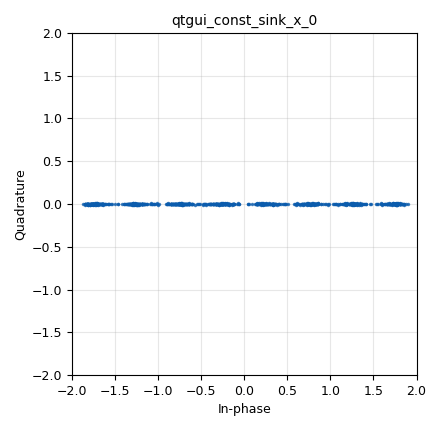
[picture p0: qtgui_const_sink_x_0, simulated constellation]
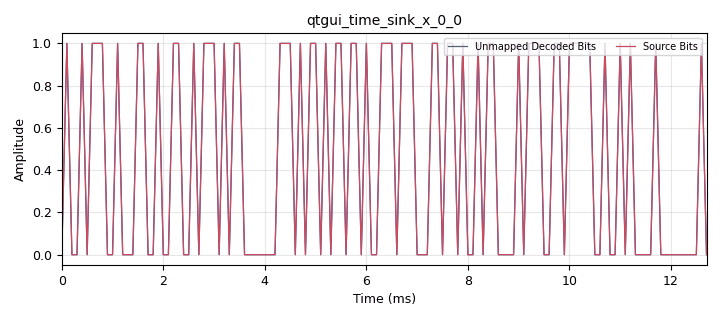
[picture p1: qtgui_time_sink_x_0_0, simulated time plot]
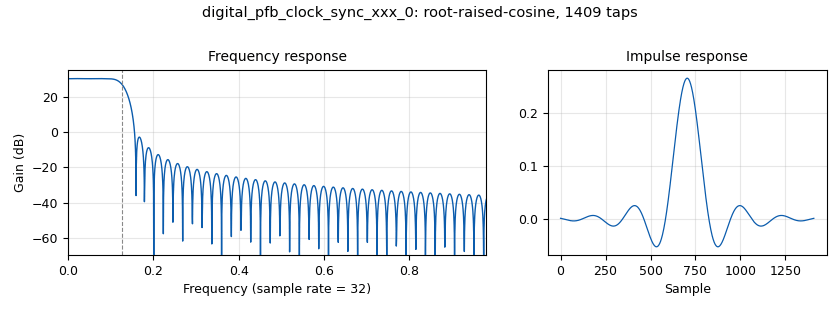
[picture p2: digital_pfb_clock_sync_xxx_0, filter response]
options:
  parameters:
    author: AKourgli
    category: Custom
    generate_options: qt_gui
    id: TP5_1
    output_language: python
    title: TP5_1
  states: {}

blocks:
- name: Alpha
  id: variable
  parameters:
    value: '0.22'
  states: {}
- name: const
  id: variable_constellation_rect
  parameters:
    const_points: '[-7,-5,-3, -1,1 ,3,5,7]'
    imag_sect: '1'
    real_sect: '8'
    rot_sym: '8'
    sym_map: '[0, 1,2,3,4,5,6,7]'
    w_imag_sect: '1'
    w_real_sect: '2'
  states: {}
- name: nfilts
  id: variable
  parameters:
    value: '32'
  states: {}
- name: noise_volt
  id: variable_qtgui_range
  parameters:
    comment: 0,0,1,1
    gui_hint: 0,0,1,1
    label: 'Channel: Noise Voltage'
    start: '0'
    step: '0.01'
    stop: '1'
    value: '0.01'
  states: {}
- name: rrc_taps
  id: variable
  parameters:
    value: firdes.root_raised_cosine(nfilts, nfilts, 1.0/float(sps), Alpha, 11*sps*nfilts)
  states: {}
- name: samp_rate
  id: variable
  parameters:
    value: '10000'
  states: {}
- name: sps
  id: variable
  parameters:
    value: '4'
  states: {}
- name: timing_loop_bw
  id: variable
  parameters:
    value: '0.0628'
  states: {}
- name: analog_random_source_x_0
  id: analog_random_source_x
  parameters:
    max: '255'
    min: '0'
    num_samps: '10000'
    repeat: 'True'
    type: byte
  states: {}
- name: blocks_char_to_float_0_0
  id: blocks_char_to_float
  parameters:
    scale: '1'
  states: {}
- name: blocks_char_to_float_0_0_0
  id: blocks_char_to_float
  parameters:
    scale: '1'
  states: {}
- name: blocks_char_to_float_0_1
  id: blocks_char_to_float
  parameters:
    scale: '1'
  states: {}
- name: blocks_delay_0
  id: blocks_delay
  parameters:
    delay: int(5.5 * sps + 7)*3
    type: byte
  states: {}
- name: blocks_integrate_xx_0
  id: blocks_integrate_xx
  parameters:
    decim: '100'
    type: float
  states: {}
- name: blocks_multiply_const_vxx_1
  id: blocks_multiply_const_vxx
  parameters:
    const: 1/100
    type: float
  states: {}
- name: blocks_throttle2_0
  id: blocks_throttle2
  parameters:
    samples_per_second: samp_rate
    type: complex
  states: {}
- name: blocks_unpack_k_bits_bb_0_0
  id: blocks_unpack_k_bits_bb
  parameters:
    k: '8'
  states: {}
- name: blocks_unpack_k_bits_bb_0_0_0
  id: blocks_unpack_k_bits_bb
  parameters:
    k: '3'
  states: {}
- name: blocks_xor_xx_0
  id: blocks_xor_xx
  parameters:
    type: byte
  states: {}
- name: channels_channel_model_0
  id: channels_channel_model
  parameters:
    epsilon: '1'
    freq_offset: '0'
    noise_voltage: noise_volt
    seed: '0'
    taps: 1+0j
  states: {}
- name: digital_constellation_decoder_cb_0
  id: digital_constellation_decoder_cb
  parameters:
    constellation: const
  states: {}
- name: digital_constellation_modulator_0
  id: digital_constellation_modulator
  parameters:
    constellation: const
    differential: 'True'
    excess_bw: Alpha
    samples_per_symbol: sps
  states: {}
- name: digital_diff_decoder_bb_0
  id: digital_diff_decoder_bb
  parameters:
    coding: digital.DIFF_DIFFERENTIAL
    modulus: '8'
  states: {}
- name: digital_pfb_clock_sync_xxx_0
  id: digital_pfb_clock_sync_xxx
  parameters:
    filter_size: nfilts
    init_phase: nfilts/2
    loop_bw: timing_loop_bw
    max_dev: '1.5'
    osps: '1'
    sps: sps
    taps: rrc_taps
    type: ccf
  states: {}
- name: qtgui_const_sink_x_0
  id: qtgui_const_sink_x
  parameters:
    comment: 0,2,1,1
    gui_hint: 0,2,1,1
    name: ''
    size: '1024'
    type: complex
  states: {}
- name: qtgui_number_sink_0
  id: qtgui_number_sink
  parameters:
    comment: 0,1,1,1
    graph_type: qtgui.NUM_GRAPH_HORIZ
    gui_hint: 0,1,1,1
    type: float
  states: {}
- name: qtgui_time_sink_x_0_0
  id: qtgui_time_sink_x
  parameters:
    autoscale: 'True'
    color1: dark blue
    comment: 1,0,1,4
    ctrlpanel: 'True'
    gui_hint: 1,0,1,3
    label1: Unmapped Decoded Bits
    label2: Source Bits
    name: ''
    nconnections: '2'
    size: '128'
    srate: samp_rate
    tr_mode: qtgui.TRIG_MODE_AUTO
    type: float
    ymax: '2'
    ymin: '-2'
  states: {}
- name: virtual_sink_0
  id: virtual_sink
  parameters:
    stream_id: Decoded
  states: {}
- name: virtual_sink_1
  id: virtual_sink
  parameters:
    stream_id: Source
  states: {}
- name: virtual_source_1
  id: virtual_source
  parameters:
    stream_id: Source
  states: {}
- name: virtual_source_1_0
  id: virtual_source
  parameters:
    stream_id: Decoded
  states: {}

connections:
- [analog_random_source_x_0, '0', digital_constellation_modulator_0, '0']
- [analog_random_source_x_0, '0', virtual_sink_1, '0']
- [blocks_char_to_float_0_0, '0', qtgui_time_sink_x_0_0, '0']
- [blocks_char_to_float_0_0_0, '0', qtgui_time_sink_x_0_0, '1']
- [blocks_char_to_float_0_1, '0', blocks_integrate_xx_0, '0']
- [blocks_delay_0, '0', blocks_char_to_float_0_0_0, '0']
- [blocks_delay_0, '0', blocks_xor_xx_0, '1']
- [blocks_integrate_xx_0, '0', blocks_multiply_const_vxx_1, '0']
- [blocks_multiply_const_vxx_1, '0', qtgui_number_sink_0, '0']
- [blocks_throttle2_0, '0', channels_channel_model_0, '0']
- [blocks_unpack_k_bits_bb_0_0, '0', blocks_delay_0, '0']
- [blocks_unpack_k_bits_bb_0_0_0, '0', blocks_char_to_float_0_0, '0']
- [blocks_unpack_k_bits_bb_0_0_0, '0', blocks_xor_xx_0, '0']
- [blocks_xor_xx_0, '0', blocks_char_to_float_0_1, '0']
- [channels_channel_model_0, '0', digital_pfb_clock_sync_xxx_0, '0']
- [digital_constellation_decoder_cb_0, '0', virtual_sink_0, '0']
- [digital_constellation_modulator_0, '0', blocks_throttle2_0, '0']
- [digital_diff_decoder_bb_0, '0', blocks_unpack_k_bits_bb_0_0_0, '0']
- [digital_pfb_clock_sync_xxx_0, '0', digital_constellation_decoder_cb_0, '0']
- [digital_pfb_clock_sync_xxx_0, '0', qtgui_const_sink_x_0, '0']
- [virtual_source_1, '0', blocks_unpack_k_bits_bb_0_0, '0']
- [virtual_source_1_0, '0', digital_diff_decoder_bb_0, '0']

metadata:
  file_format: 1
  grc_version: 3.10.10.0
